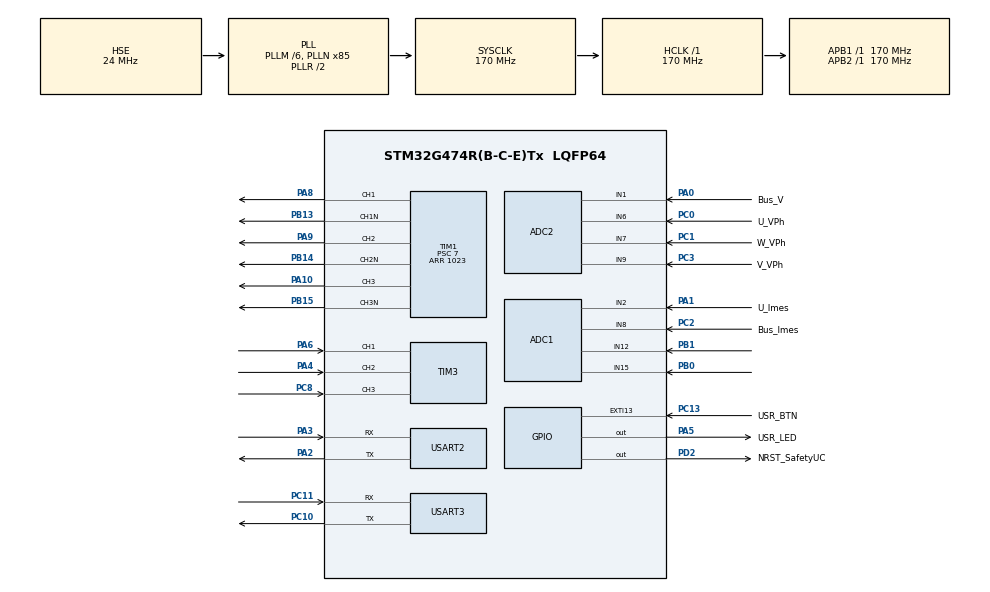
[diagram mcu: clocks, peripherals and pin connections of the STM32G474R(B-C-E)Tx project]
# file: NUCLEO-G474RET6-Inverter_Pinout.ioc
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ADC1.Channel-4\#ChannelRegularConversion=ADC_CHANNEL_2
ADC1.ContinuousConvMode=DISABLE
ADC1.DMAContinuousRequests=ENABLE
ADC1.EOCSelection=ADC_EOC_SINGLE_CONV
ADC1.EnableRegularConversion=ENABLE
ADC1.ExternalTrigConv=ADC_EXTERNALTRIG_T1_TRGO
ADC1.NbrOfConversion=1
ADC1.NbrOfConversionFlag=1
ADC1.OffsetNumber-4\#ChannelRegularConversion=ADC_OFFSET_NONE
ADC1.Rank-4\#ChannelRegularConversion=1
ADC1.SamplingTime-4\#ChannelRegularConversion=ADC_SAMPLETIME_47CYCLES_5
ADC1.master=1
ADC2.ContinuousConvMode=ENABLE
ADC2.DMAContinuousRequests=ENABLE
ADC2.EnableRegularConversion=DISABLE
Dma.ADC1.0.Direction=DMA_PERIPH_TO_MEMORY
Dma.ADC1.0.EventEnable=DISABLE
Dma.ADC1.0.Instance=DMA1_Channel1
Dma.ADC1.0.MemDataAlignment=DMA_MDATAALIGN_HALFWORD
Dma.ADC1.0.MemInc=DMA_MINC_ENABLE
Dma.ADC1.0.Mode=DMA_CIRCULAR
Dma.ADC1.0.PeriphDataAlignment=DMA_PDATAALIGN_HALFWORD
Dma.ADC1.0.PeriphInc=DMA_PINC_DISABLE
Dma.ADC1.0.Polarity=HAL_DMAMUX_REQ_GEN_RISING
Dma.ADC1.0.Priority=DMA_PRIORITY_LOW
Dma.ADC1.0.RequestNumber=1
Dma.ADC1.0.SignalID=NONE
Dma.ADC1.0.SyncEnable=DISABLE
Dma.ADC1.0.SyncPolarity=HAL_DMAMUX_SYNC_NO_EVENT
Dma.ADC1.0.SyncRequestNumber=1
Dma.ADC1.0.SyncSignalID=NONE
Dma.ADC2.1.Direction=DMA_PERIPH_TO_MEMORY
Dma.ADC2.1.EventEnable=DISABLE
Dma.ADC2.1.Instance=DMA1_Channel2
Dma.ADC2.1.MemDataAlignment=DMA_MDATAALIGN_HALFWORD
Dma.ADC2.1.MemInc=DMA_MINC_ENABLE
Dma.ADC2.1.Mode=DMA_CIRCULAR
Dma.ADC2.1.PeriphDataAlignment=DMA_PDATAALIGN_HALFWORD
Dma.ADC2.1.PeriphInc=DMA_PINC_DISABLE
Dma.ADC2.1.Polarity=HAL_DMAMUX_REQ_GEN_RISING
Dma.ADC2.1.Priority=DMA_PRIORITY_LOW
Dma.ADC2.1.RequestNumber=1
Dma.ADC2.1.SignalID=NONE
Dma.ADC2.1.SyncEnable=DISABLE
Dma.ADC2.1.SyncPolarity=HAL_DMAMUX_SYNC_NO_EVENT
Dma.ADC2.1.SyncRequestNumber=1
Dma.ADC2.1.SyncSignalID=NONE
Dma.Request0=ADC1
Dma.Request1=ADC2
Mcu.Family=STM32G4
Mcu.Name=STM32G474R(B-C-E)Tx
Mcu.Package=LQFP64
NVIC.ADC1_2_IRQn=true\:0\:0\:false\:false\:true\:true\:true\:true
NVIC.DMA1_Channel1_IRQn=true\:0\:0\:false\:false\:true\:false\:true\:true
NVIC.DMA1_Channel2_IRQn=true\:0\:0\:false\:false\:true\:false\:true\:true
NVIC.EXTI15_10_IRQn=true\:0\:0\:false\:false\:true\:true\:true\:true
NVIC.PriorityGroup=NVIC_PRIORITYGROUP_4
NVIC.TIM6_DAC_IRQn=true\:15\:0\:false\:false\:true\:false\:true\:true
NVIC.TimeBase=TIM6_DAC_IRQn
NVIC.TimeBaseIP=TIM6
NVIC.USART2_IRQn=true\:0\:0\:false\:false\:true\:true\:true\:true
NVIC.USART3_IRQn=true\:0\:0\:false\:false\:true\:true\:true\:true
PA0.GPIO_Label=Bus_V
PA0.Mode=IN1-Single-Ended
PA0.Signal=ADC2_IN1
PA1.GPIO_Label=U_Imes
PA1.Mode=IN2-Single-Ended
PA1.Signal=ADC1_IN2
PA10.GPIO_ModeDefaultPP=GPIO_MODE_AF_PP
PA10.GPIO_PuPd=GPIO_NOPULL
PA10.GPIO_Speed=GPIO_SPEED_FREQ_LOW
PA10.Signal=S_TIM1_CH3
PA13.GPIO_Label=T_SWDIO
PA13.Mode=Trace_Asynchronous_SW
PA13.Signal=SYS_JTMS-SWDIO
PA14.GPIO_Label=T_SWCLK
PA14.Mode=Trace_Asynchronous_SW
PA14.Signal=SYS_JTCK-SWCLK
PA2.Mode=Asynchronous
PA2.Signal=USART2_TX
PA3.Mode=Asynchronous
PA3.Signal=USART2_RX
PA4.Signal=S_TIM3_CH2
PA5.GPIO_Label=USR_LED
PA5.Signal=GPIO_Output
PA6.Signal=S_TIM3_CH1
PA8.GPIO_ModeDefaultPP=GPIO_MODE_AF_PP
PA8.GPIO_PuPd=GPIO_NOPULL
PA8.GPIO_Speed=GPIO_SPEED_FREQ_LOW
PA8.Signal=S_TIM1_CH1
PA9.GPIO_ModeDefaultPP=GPIO_MODE_AF_PP
PA9.GPIO_PuPd=GPIO_NOPULL
PA9.GPIO_Speed=GPIO_SPEED_FREQ_LOW
PA9.Signal=S_TIM1_CH2
PB0.Mode=IN15-Single-Ended
PB0.Signal=ADC1_IN15
PB1.Mode=IN12-Single-Ended
PB1.Signal=ADC1_IN12
PB13.GPIO_ModeDefaultPP=GPIO_MODE_AF_PP
PB13.GPIO_PuPd=GPIO_NOPULL
PB13.GPIO_Speed=GPIO_SPEED_FREQ_LOW
PB13.Mode=PWM Generation1 CH1 CH1N
PB13.Signal=TIM1_CH1N
PB14.GPIO_ModeDefaultPP=GPIO_MODE_AF_PP
PB14.GPIO_PuPd=GPIO_NOPULL
PB14.GPIO_Speed=GPIO_SPEED_FREQ_LOW
PB14.Mode=PWM Generation2 CH2 CH2N
PB14.Signal=TIM1_CH2N
PB15.GPIO_ModeDefaultPP=GPIO_MODE_AF_PP
PB15.GPIO_PuPd=GPIO_NOPULL
PB15.GPIO_Speed=GPIO_SPEED_FREQ_LOW
PB15.Mode=PWM Generation3 CH3 CH3N
PB15.Signal=TIM1_CH3N
PB3.GPIO_Label=T_SWO
PB3.Mode=Trace_Asynchronous_SW
PB3.Signal=SYS_JTDO-SWO
PC0.GPIO_Label=U_VPh
PC0.Mode=IN6-Single-Ended
PC0.Signal=ADC2_IN6
PC1.GPIO_Label=W_VPh
PC1.Mode=IN7-Single-Ended
PC1.Signal=ADC2_IN7
PC10.Mode=Asynchronous
PC10.Signal=USART3_TX
PC11.Mode=Asynchronous
PC11.Signal=USART3_RX
PC13.GPIO_Label=USR_BTN
PC13.Signal=GPXTI13
PC14-OSC32_IN.Mode=LSE-External-Oscillator
PC14-OSC32_IN.Signal=RCC_OSC32_IN
PC15-OSC32_OUT.Mode=LSE-External-Oscillator
PC15-OSC32_OUT.Signal=RCC_OSC32_OUT
PC2.GPIO_Label=Bus_Imes
PC2.Mode=IN8-Single-Ended
PC2.Signal=ADC1_IN8
PC3.GPIO_Label=V_VPh
PC3.Mode=IN9-Single-Ended
PC3.Signal=ADC2_IN9
PC8.Signal=S_TIM3_CH3
PD2.GPIO_Label=NRST_SafetyUC
PD2.Signal=GPIO_Output
PF0-OSC_IN.Mode=HSE-External-Oscillator
PF0-OSC_IN.Signal=RCC_OSC_IN
PF1-OSC_OUT.Mode=HSE-External-Oscillator
PF1-OSC_OUT.Signal=RCC_OSC_OUT
ProjectManager.HeapSize=0x200
ProjectManager.StackSize=0x400
ProjectManager.TargetToolchain=STM32CubeIDE
RCC.ADC12Freq_Value=170000000
RCC.ADC345Freq_Value=170000000
RCC.AHBFreq_Value=170000000
RCC.APB1Freq_Value=170000000
RCC.APB1TimFreq_Value=170000000
RCC.APB2Freq_Value=170000000
RCC.APB2TimFreq_Value=170000000
RCC.CortexFreq_Value=170000000
RCC.EXTERNAL_CLOCK_VALUE=12288000
RCC.HCLKFreq_Value=170000000
RCC.HSE_VALUE=24000000
RCC.HSI48_VALUE=48000000
RCC.HSI_VALUE=16000000
RCC.PLLM=RCC_PLLM_DIV6
RCC.PLLN=85
RCC.PLLSourceVirtual=RCC_PLLSOURCE_HSE
RCC.RTCClockSelection=RCC_RTCCLKSOURCE_LSE
RCC.SYSCLKFreq_VALUE=170000000
RCC.SYSCLKSource=RCC_SYSCLKSOURCE_PLLCLK
RCC.USBFreq_Value=170000000
RCC.VCOOutputFreq_Value=340000000
SH.S_TIM1_CH1.0=TIM1_CH1,PWM Generation1 CH1 CH1N
SH.S_TIM1_CH2.0=TIM1_CH2,PWM Generation2 CH2 CH2N
SH.S_TIM1_CH3.0=TIM1_CH3,PWM Generation3 CH3 CH3N
SH.S_TIM3_CH1.0=TIM3_CH1,Xored_Inputs_Hall_Sensor_Interface
SH.S_TIM3_CH2.0=TIM3_CH2,Xored_Inputs_Hall_Sensor_Interface
SH.S_TIM3_CH3.0=TIM3_CH3,Xored_Inputs_Hall_Sensor_Interface
TIM1.AutoReloadPreload=TIM_AUTORELOAD_PRELOAD_ENABLE
TIM1.Channel-PWM\ Generation1\ CH1\ CH1N=TIM_CHANNEL_1
TIM1.Channel-PWM\ Generation2\ CH2\ CH2N=TIM_CHANNEL_2
TIM1.Channel-PWM\ Generation3\ CH3\ CH3N=TIM_CHANNEL_3
TIM1.DeadTime=15
TIM1.OCFastMode_PWM-PWM\ Generation1\ CH1\ CH1N=TIM_OCFAST_ENABLE
TIM1.OCFastMode_PWM-PWM\ Generation2\ CH2\ CH2N=TIM_OCFAST_ENABLE
TIM1.PeriodNoDither=1023
TIM1.Prescaler=7
TIM1.PulseNoDither_1=800
TIM1.PulseNoDither_2=200
TIM1.RepetitionCounter=0
TIM1.TIM_MasterOutputTrigger=TIM_TRGO_UPDATE
USART2.VirtualMode-Asynchronous=VM_ASYNC
USART3.VirtualMode-Asynchronous=VM_ASYNC
VP_SYS_VS_DBSignals.Mode=DisableDeadBatterySignals
VP_SYS_VS_tim6.Mode=TIM6
VP_TIM1_VS_ClockSourceINT.Mode=Internal
board=NUCLEO-G474RE

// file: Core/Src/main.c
/* USER CODE BEGIN Header */
/**
 ******************************************************************************
 * @file           : main.c
 * @brief          : Main program body
 ******************************************************************************
 * @attention
 *
 * Copyright (c) 2023 STMicroelectronics.
 * All rights reserved.
 *
 * This software is licensed under terms that can be found in the LICENSE file
 * in the root directory of this software component.
 * If no LICENSE file comes with this software, it is provided AS-IS.
 *
 ******************************************************************************
 */
/* USER CODE END Header */

#include "main.h"
#include "adc.h"
#include "dma.h"
#include "tim.h"
#include "usart.h"
#include "gpio.h"

/* USER CODE BEGIN Includes */
#include <math.h>
#include "mylibs/shell.h"
/* USER CODE END Includes */

/* USER CODE BEGIN PD */
#define MOTOR_SPEED_UPDATE_RATE 50 //ms

#define DMA_BUFFER_SIZE 2
/* USER CODE END PD */

/* USER CODE BEGIN PV */
int motor_set_speed = 0, motor_current_speed = 0;

uint32_t adc_buffer[1]; // Double the size for two channels
int adc_conv_complete = 0;
uint16_t adc_result1 = 0;
uint16_t adc_result2 = 0;

typedef struct motor_params_t {
    float current;
    int speed;
} motor_params_t;

motor_params_t motor;

/* USER CODE END PV */

void SystemClock_Config(void);
/* USER CODE BEGIN PFP */
int start_PWM();
int stop_PWM();
int set_PWM(int new_speed);
void motor_speed_control_loop();
void measure_loop(motor_params_t *motor);

/* USER CODE END PFP */

int main(void)
{

    /* MCU Configuration--------------------------------------------------------*/

    /* Reset of all peripherals, Initializes the Flash interface and the Systick. */
    HAL_Init();

    /* USER CODE BEGIN Init */
    uint32_t lastTick = HAL_GetTick(); // Initialize current tick time

    /* USER CODE END Init */

    /* Configure the system clock */
    SystemClock_Config();

    /* Initialize all configured peripherals */
    MX_GPIO_Init();
    MX_DMA_Init();
    MX_ADC2_Init();
    MX_ADC1_Init();
    MX_TIM1_Init();
    MX_TIM3_Init();
    MX_USART2_UART_Init();
    MX_USART3_UART_Init();
    /* USER CODE BEGIN 2 */
    Shell_Init();

    // Start the ADC conversion in DMA mode
    HAL_ADC_Start_DMA(&hadc1, adc_buffer, 1);

    /* USER CODE END 2 */

    /* Infinite loop */
    /* USER CODE BEGIN WHILE */
    while (1)
    {
        // Use STM32 tick time to enter the function every N ms
        if ((HAL_GetTick() - lastTick) >= MOTOR_SPEED_UPDATE_RATE)
        {
            motor_speed_control_loop();
            lastTick = HAL_GetTick();
            measure_loop(&motor);
        }
        Shell_Loop();

        /* USER CODE END WHILE */

    }
}

void SystemClock_Config(void)
{
    RCC_OscInitTypeDef RCC_OscInitStruct = {0};
    RCC_ClkInitTypeDef RCC_ClkInitStruct = {0};

    /** Configure the main internal regulator output voltage
    */
    HAL_PWREx_ControlVoltageScaling(PWR_REGULATOR_VOLTAGE_SCALE1_BOOST);

    /** Initializes the RCC Oscillators according to the specified parameters
    * in the RCC_OscInitTypeDef structure.
    */
    RCC_OscInitStruct.OscillatorType = RCC_OSCILLATORTYPE_HSE;
    RCC_OscInitStruct.HSEState = RCC_HSE_ON;
    RCC_OscInitStruct.PLL.PLLState = RCC_PLL_ON;
    RCC_OscInitStruct.PLL.PLLSource = RCC_PLLSOURCE_HSE;
    RCC_OscInitStruct.PLL.PLLM = RCC_PLLM_DIV6;
    RCC_OscInitStruct.PLL.PLLN = 85;
    RCC_OscInitStruct.PLL.PLLP = RCC_PLLP_DIV2;
    RCC_OscInitStruct.PLL.PLLQ = RCC_PLLQ_DIV2;
    RCC_OscInitStruct.PLL.PLLR = RCC_PLLR_DIV2;
    if (HAL_RCC_OscConfig(&RCC_OscInitStruct) != HAL_OK)
    {
        Error_Handler();
    }

    /** Initializes the CPU, AHB and APB buses clocks
    */
    RCC_ClkInitStruct.ClockType = RCC_CLOCKTYPE_HCLK | RCC_CLOCKTYPE_SYSCLK
        | RCC_CLOCKTYPE_PCLK1 | RCC_CLOCKTYPE_PCLK2;
    RCC_ClkInitStruct.SYSCLKSource = RCC_SYSCLKSOURCE_PLLCLK;
    RCC_ClkInitStruct.AHBCLKDivider = RCC_SYSCLK_DIV1;
    RCC_ClkInitStruct.APB1CLKDivider = RCC_HCLK_DIV1;
    RCC_ClkInitStruct.APB2CLKDivider = RCC_HCLK_DIV1;

    if (HAL_RCC_ClockConfig(&RCC_ClkInitStruct, FLASH_LATENCY_4) != HAL_OK)
    {
        Error_Handler();
    }
}

/* USER CODE BEGIN 4 */
void measure_loop(motor_params_t *motor)
{
    /**
     * 1. Measure motor current
     */
    if (adc_conv_complete)
    {
        // Gain courant global 1/20
        // Offset de tension 0.487
        // Convert ADC value to current in mA
        float adc_volt = (float)adc_buffer[0] / 4096;
        float offset = 0.487;

        motor->current = (adc_volt - offset) * 20;
        adc_conv_complete = 0;
    }
}

void motor_speed_control_loop()
{
    if (motor_current_speed != motor_set_speed)
    {
        if (motor_current_speed < motor_set_speed)
        {
            motor_current_speed++;
        }
        else
        {
            motor_current_speed--;
        }
        set_PWM(motor_current_speed);
    }
}

int start_PWM()
{
    int speed_stopped = __HAL_TIM_GET_AUTORELOAD(&htim1) / 2;
    motor_set_speed = 0;
    motor_current_speed = 0;
    TIM1->CCR1 = speed_stopped;
    TIM1->CCR2 = speed_stopped;

    if (HAL_OK != HAL_TIM_PWM_Start(&htim1, TIM_CHANNEL_1))
    {
        return ERROR;
    }

    if (HAL_OK != HAL_TIM_PWM_Start(&htim1, TIM_CHANNEL_2))
    {
        return ERROR;
    }

    if (HAL_OK != HAL_TIMEx_PWMN_Start(&htim1, TIM_CHANNEL_1))
    {
        return ERROR;
    }

    if (HAL_OK != HAL_TIMEx_PWMN_Start(&htim1, TIM_CHANNEL_2))
    {
        return ERROR;
    }

    return SUCCESS;
}

int stop_PWM()
{
    if (HAL_OK != HAL_TIM_PWM_Stop(&htim1, TIM_CHANNEL_1))
    {
        return ERROR;
    }

    if (HAL_OK != HAL_TIM_PWM_Stop(&htim1, TIM_CHANNEL_2))
    {
        return ERROR;
    }

    if (HAL_OK != HAL_TIMEx_PWMN_Stop(&htim1, TIM_CHANNEL_1))
    {
        return ERROR;
    }

    if (HAL_OK != HAL_TIMEx_PWMN_Stop(&htim1, TIM_CHANNEL_2))
    {
        return ERROR;
    }

    return SUCCESS;
}

int set_PWM(int new_speed)
{
    if ((new_speed > 100) || (new_speed < -100))
    {
        return ERROR;
    }
    else
    {
        const int ccr_size = __HAL_TIM_GET_AUTORELOAD(&htim1);
        int ccr_size_div_2 = ccr_size / 2;
        int ccr_U_value, ccr_V_value;
        float f_speed = (float)new_speed / 100;
        if (new_speed > 0)
        {
            ccr_U_value = ccr_size_div_2 + (f_speed * ccr_size_div_2);
            ccr_V_value = ccr_size - ccr_U_value;
        }
        else
        {
            ccr_V_value = ccr_size_div_2 + (fabs(f_speed) * ccr_size_div_2);
            ccr_U_value = ccr_size - ccr_V_value;
        }
        TIM1->CCR1 = ccr_U_value;
        TIM1->CCR2 = ccr_V_value;
        return SUCCESS;
    }
}

void HAL_ADC_ConvCpltCallback(ADC_HandleTypeDef *hadc)
{
    adc_conv_complete = 1;
}

void HAL_ADC_ErrorCallback(ADC_HandleTypeDef *hadc)
{
    HAL_UART_Transmit(&huart2, "ERROR  Call\r\n", 13, 100);
}

/* USER CODE END 4 */

void HAL_TIM_PeriodElapsedCallback(TIM_HandleTypeDef *htim)
{
    if (htim->Instance == TIM6)
    {
        HAL_IncTick();
    }
}

void Error_Handler(void)
{
    __disable_irq();
    while (1)
    {
    }
}
